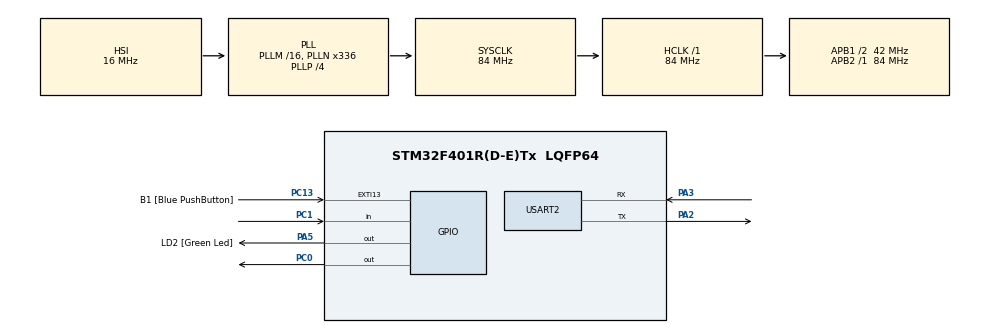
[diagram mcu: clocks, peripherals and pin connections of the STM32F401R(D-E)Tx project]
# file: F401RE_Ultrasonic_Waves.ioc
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Mcu.Family=STM32F4
Mcu.Name=STM32F401R(D-E)Tx
Mcu.Package=LQFP64
NVIC.PriorityGroup=NVIC_PRIORITYGROUP_0
NVIC.TIM4_IRQn=true\:0\:0\:false\:false\:true\:false\:true\:true
NVIC.TimeBase=TIM4_IRQn
NVIC.TimeBaseIP=TIM4
PA13.GPIO_Label=TMS
PA13.Mode=Serial_Wire
PA13.Signal=SYS_JTMS-SWDIO
PA14.GPIO_Label=TCK
PA14.Mode=Serial_Wire
PA14.Signal=SYS_JTCK-SWCLK
PA2.Mode=Asynchronous
PA2.Signal=USART2_TX
PA3.Mode=Asynchronous
PA3.Signal=USART2_RX
PA5.GPIO_Label=LD2 [Green Led]
PA5.GPIO_Mode=GPIO_MODE_OUTPUT_PP
PA5.GPIO_PuPd=GPIO_NOPULL
PA5.GPIO_Speed=GPIO_SPEED_FREQ_LOW
PA5.Signal=GPIO_Output
PB3.GPIO_Label=SWO
PB3.Signal=SYS_JTDO-SWO
PC0.Signal=GPIO_Output
PC1.Signal=GPIO_Input
PC13-ANTI_TAMP.GPIO_Label=B1 [Blue PushButton]
PC13-ANTI_TAMP.GPIO_ModeDefaultEXTI=GPIO_MODE_IT_FALLING
PC13-ANTI_TAMP.GPIO_PuPd=GPIO_NOPULL
PC13-ANTI_TAMP.Signal=GPXTI13
PC14-OSC32_IN.Mode=LSE-External-Oscillator
PC14-OSC32_IN.Signal=RCC_OSC32_IN
PC15-OSC32_OUT.Mode=LSE-External-Oscillator
PC15-OSC32_OUT.Signal=RCC_OSC32_OUT
PH0\ -\ OSC_IN.Mode=HSE-External-Oscillator
PH0\ -\ OSC_IN.Signal=RCC_OSC_IN
PH1\ -\ OSC_OUT.Mode=HSE-External-Oscillator
PH1\ -\ OSC_OUT.Signal=RCC_OSC_OUT
ProjectManager.HeapSize=0x200
ProjectManager.StackSize=0x400
ProjectManager.TargetToolchain=STM32CubeIDE
RCC.48MHZClocksFreq_Value=48000000
RCC.AHBFreq_Value=84000000
RCC.APB1CLKDivider=RCC_HCLK_DIV2
RCC.APB1Freq_Value=42000000
RCC.APB1TimFreq_Value=84000000
RCC.APB2Freq_Value=84000000
RCC.APB2TimFreq_Value=84000000
RCC.CortexFreq_Value=84000000
RCC.HCLKFreq_Value=84000000
RCC.HSE_VALUE=8000000
RCC.HSI_VALUE=16000000
RCC.PLLN=336
RCC.PLLP=RCC_PLLP_DIV4
RCC.PLLQ=7
RCC.SYSCLKFreq_VALUE=84000000
RCC.SYSCLKSource=RCC_SYSCLKSOURCE_PLLCLK
RCC.VCOOutputFreq_Value=336000000
TIM10.Prescaler=84-1
USART2.VirtualMode=VM_ASYNC
VP_SYS_VS_tim4.Mode=TIM4
VP_TIM10_VS_ClockSourceINT.Mode=Enable_Timer
board=NUCLEO-F401RE

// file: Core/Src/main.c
/* USER CODE BEGIN Header */
/**
  ******************************************************************************
  * @file           : main.c
  * @brief          : Main program body
  ******************************************************************************
  * @attention
  *
  * Copyright (c) 2023 STMicroelectronics.
  * All rights reserved.
  *
  * This software is licensed under terms that can be found in the LICENSE file
  * in the root directory of this software component.
  * If no LICENSE file comes with this software, it is provided AS-IS.
  *
  ******************************************************************************
  */
/* USER CODE END Header */
#include "main.h"
#include "tim.h"
#include "usart.h"
#include "gpio.h"

void SystemClock_Config(void);

/* USER CODE BEGIN 0 */
int __io_putchar(int ch){
	HAL_UART_Transmit(&huart2, (uint8_t *)&ch, 1, 0xFFFF);
	return ch;
}

uint16_t counter_time, sensor_time;
float distance;

void delay_us(uint16_t delay){
	__HAL_TIM_SET_COUNTER(&htim10,0);
	while(__HAL_TIM_GET_COUNTER(&htim10)<delay);
}

uint16_t hc_sr04_read(void){
	counter_time = 0;
	HAL_GPIO_WritePin(GPIOC, GPIO_PIN_0, 0);
	delay_us(2);
	HAL_GPIO_WritePin(GPIOC, GPIO_PIN_0, 1);
	delay_us(10);
	HAL_GPIO_WritePin(GPIOC, GPIO_PIN_0, 0);

	while (!HAL_GPIO_ReadPin(GPIOC, GPIO_PIN_1));
	while (HAL_GPIO_ReadPin(GPIOC, GPIO_PIN_1)){
		counter_time++;
		delay_us (1);
	}
	return counter_time;
}
/* USER CODE END 0 */

int main(void)
{

  /* MCU Configuration--------------------------------------------------------*/

  /* Reset of all peripherals, Initializes the Flash interface and the Systick. */
  HAL_Init();

  /* Configure the system clock */
  SystemClock_Config();

  /* Initialize all configured peripherals */
  MX_GPIO_Init();
  MX_USART2_UART_Init();
  MX_TIM10_Init();
  /* USER CODE BEGIN 2 */
  HAL_TIM_Base_Start(&htim10);
  /* USER CODE END 2 */

  /* Infinite loop */
  /* USER CODE BEGIN WHILE */
  while (1)
  {
	  sensor_time = hc_sr04_read();
	  distance = (float)sensor_time  * 0.017;
	  printf("distance = %f\r\n", distance);
	  HAL_Delay(1000);
    /* USER CODE END WHILE */

  }
}

void SystemClock_Config(void)
{
  RCC_OscInitTypeDef RCC_OscInitStruct = {0};
  RCC_ClkInitTypeDef RCC_ClkInitStruct = {0};

  /** Configure the main internal regulator output voltage
  */
  __HAL_RCC_PWR_CLK_ENABLE();
  __HAL_PWR_VOLTAGESCALING_CONFIG(PWR_REGULATOR_VOLTAGE_SCALE2);

  /** Initializes the RCC Oscillators according to the specified parameters
  * in the RCC_OscInitTypeDef structure.
  */
  RCC_OscInitStruct.OscillatorType = RCC_OSCILLATORTYPE_HSI;
  RCC_OscInitStruct.HSIState = RCC_HSI_ON;
  RCC_OscInitStruct.HSICalibrationValue = RCC_HSICALIBRATION_DEFAULT;
  RCC_OscInitStruct.PLL.PLLState = RCC_PLL_ON;
  RCC_OscInitStruct.PLL.PLLSource = RCC_PLLSOURCE_HSI;
  RCC_OscInitStruct.PLL.PLLM = 16;
  RCC_OscInitStruct.PLL.PLLN = 336;
  RCC_OscInitStruct.PLL.PLLP = RCC_PLLP_DIV4;
  RCC_OscInitStruct.PLL.PLLQ = 7;
  if (HAL_RCC_OscConfig(&RCC_OscInitStruct) != HAL_OK)
  {
    Error_Handler();
  }

  /** Initializes the CPU, AHB and APB buses clocks
  */
  RCC_ClkInitStruct.ClockType = RCC_CLOCKTYPE_HCLK|RCC_CLOCKTYPE_SYSCLK
                              |RCC_CLOCKTYPE_PCLK1|RCC_CLOCKTYPE_PCLK2;
  RCC_ClkInitStruct.SYSCLKSource = RCC_SYSCLKSOURCE_PLLCLK;
  RCC_ClkInitStruct.AHBCLKDivider = RCC_SYSCLK_DIV1;
  RCC_ClkInitStruct.APB1CLKDivider = RCC_HCLK_DIV2;
  RCC_ClkInitStruct.APB2CLKDivider = RCC_HCLK_DIV1;

  if (HAL_RCC_ClockConfig(&RCC_ClkInitStruct, FLASH_LATENCY_2) != HAL_OK)
  {
    Error_Handler();
  }
}

void HAL_TIM_PeriodElapsedCallback(TIM_HandleTypeDef *htim)
{
  if (htim->Instance == TIM4) {
    HAL_IncTick();
  }
}

void Error_Handler(void)
{
  __disable_irq();
  while (1)
  {
  }
}
